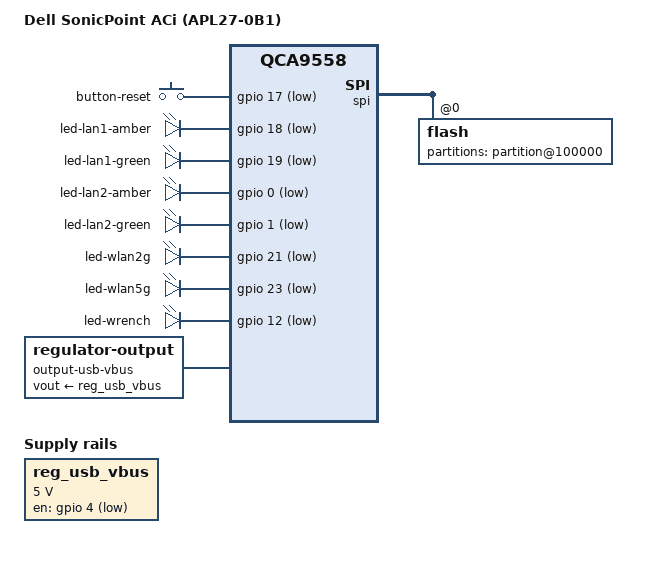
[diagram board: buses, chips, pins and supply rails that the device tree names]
// SPDX-License-Identifier: GPL-2.0-or-later OR MIT

#include "qca9550_dell_apl2x.dtsi"

/ {
	model = "Dell SonicPoint ACi (APL27-0B1)";
	compatible = "dell,apl27-0b1", "qca,qca9550", "qca,qca9558";

	keys {
		button-reset {
			gpios = <&gpio 17 GPIO_ACTIVE_LOW>;
		};
	};

	leds {
		led-lan1-amber {
			gpios = <&gpio 18 GPIO_ACTIVE_LOW>;
		};

		led-lan1-green {
			gpios = <&gpio 19 GPIO_ACTIVE_LOW>;
		};

		led-lan2-amber {
			gpios = <&gpio 0 GPIO_ACTIVE_LOW>;
		};

		led-lan2-green {
			gpios = <&gpio 1 GPIO_ACTIVE_LOW>;
		};

		led-wlan2g {
			gpios = <&gpio 21 GPIO_ACTIVE_LOW>;
		};

		led-wlan5g {
			gpios = <&gpio 23 GPIO_ACTIVE_LOW>;
		};

		led-wrench {
			gpios = <&gpio 12 GPIO_ACTIVE_LOW>;
		};
	};

	reg_usb_vbus: regulator-usb-vbus {
		compatible = "regulator-fixed";
		regulator-name = "usb-vbus";
		regulator-min-microvolt = <5000000>;
		regulator-max-microvolt = <5000000>;
		gpios = <&gpio 4 GPIO_ACTIVE_LOW>;
	};

	output-usb-vbus {
		compatible = "regulator-output";
		vout-supply = <&reg_usb_vbus>;
	};
};

&pcie0 {
	wifi@0,0 {
		nvmem-cells = <&macaddr_sysinfo_50 2>, <&cal_art_5000>;
		nvmem-cell-names = "mac-address", "calibration";
	};
};

&spi {
	flash@0 {
		partitions {
			partition@100000 {
				nvmem-layout {
					cal_art_5000: calibration@5000 {
						reg = <0x5000 0x844>;
					};
				};
			};
		};
	};
};
